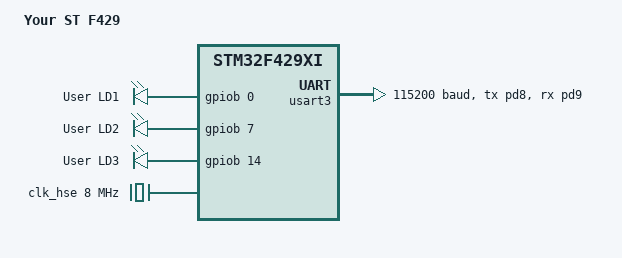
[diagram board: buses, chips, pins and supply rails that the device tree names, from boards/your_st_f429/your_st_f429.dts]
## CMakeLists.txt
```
cmake_minimum_required(VERSION 3.20.0)

#list(APPEND BOARD_ROOT ${CMAKE_CURRENT_SOURCE_DIR})
find_package(Zephyr REQUIRED)
project(my_zephyr_app)

target_sources(app PRIVATE
                    src/main.cpp
                    drivers/onboard_led/onboard_led_driver.c
                    drivers/onboard_led/onboard_led_shell.c)
```

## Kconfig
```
config APP_HEARTBEAT_PERIOD_MS
  int "Heartbeat Period in ms (100-2000)"
  default 500
  range 100 2000

menuconfig LED_SUBSYSTEM
  bool "LED Subsystem"
  default y

if LED_SUBSYSTEM

  choice
    prompt "LED blink sleep time"
    default LED_BLINK_SLEEP_1000MS

    config LED_BLINK_SLEEP_250MS
      bool "0.25s (lowest)"

    config LED_BLINK_SLEEP_500MS
      bool "0.5s (low)"

    config LED_BLINK_SLEEP_1000MS
      bool "1s (medium)"

    config LED_BLINK_SLEEP_2000MS
      bool "2s (high)"

  endchoice

  config BLINK_SLEEP_TIME_MS
    int
    default 250 if LED_BLINK_SLEEP_250MS
    default 500 if LED_BLINK_SLEEP_500MS
    default 1000 if LED_BLINK_SLEEP_1000MS
    default 2000 if LED_BLINK_SLEEP_2000MS
    default 0

  menuconfig ADVANCED_LED_SETTINGS
    bool "Advanced LED settings"
    default n

  if ADVANCED_LED_SETTINGS

    config LED_BRIGHTNESS
      int "LED brightness (0-100)"
      default 100
      range 0 100

    config LED_FADE_DURATION
      int "LED fade duration (ms)"
      default 500
      range 0 5000

    menu "Expert settings"
      visible if ADVANCED_LED_SETTINGS

      config LED_DEBUG_ENABLE
        bool "Enable LED debugging"

      config LED_CUSTOM_BLINK_PATTERN
        bool "Custom blink pattern"

    endmenu

    endif # ADVANCED_LED_SETTINGS

endif # LED_SUBSYSTEM

source "Kconfig.zephyr"
rsource "drivers/onboard_led/Kconfig"
```

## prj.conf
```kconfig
CONFIG_GPIO=y
CONFIG_LOG=y
CONFIG_SHELL=y
CONFIG_SHELL_BACKEND_SERIAL=y
```

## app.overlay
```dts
/ {
    aliases {
        
        app-led = &green_led_1;
        sensor-led = &blue_led_1;
    };

    onboard_led0: onboard_led_blue {
        compatible = "onboard_led,driver";
        status = "okay";
    };

    onboard_led1: onboard_led_red {
        compatible = "onboard_led,driver";
        status = "okay";
    };
};
```

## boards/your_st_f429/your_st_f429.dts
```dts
/dts-v1/;
#include <st/f4/stm32f429Xi.dtsi>
#include <st/f4/stm32f429zitx-pinctrl.dtsi>

/ {
    model = "Your ST F429";
	compatible = "iomico,your_st_f429";

    chosen {
		zephyr,console = &usart3;
        zephyr,sram = &sram0;
        zephyr,flash = &flash0;
        zephyr,code-partition = &slot0_partition;
    };

    leds {
		compatible = "gpio-leds";

		green_led_1: led_1 {
			gpios = <&gpiob 0 GPIO_ACTIVE_HIGH>;
			label = "User LD1";
		};

		blue_led_1: led_2 {
			gpios = <&gpiob 7 GPIO_ACTIVE_HIGH>;
			label = "User LD2";
		};

		red_led_1: led_3 {
			gpios = <&gpiob 14 GPIO_ACTIVE_HIGH>;
			label = "User LD3";
		};
    };

    aliases {
		led0 = &green_led_1;
		led1 = &blue_led_1;
		led2 = &red_led_1;
    };
};

&clk_lsi {
	status = "okay";
};

&clk_hse {
	hse-bypass;
	clock-frequency = <DT_FREQ_M(8)>; /* STLink 8MHz clock */
	status = "okay";
};

&pll {
	div-m = <8>;
	mul-n = <336>;
	div-p = <2>;
	div-q = <7>;
	clocks = <&clk_hse>;
	status = "okay";
};

&rcc {
	clocks = <&pll>;
	clock-frequency = <DT_FREQ_M(168)>; /* highest value to get a precise USB clock */
	ahb-prescaler = <1>;
	apb1-prescaler = <4>;
	apb2-prescaler = <2>;
};

&usart3 {
	pinctrl-0 = <&usart3_tx_pd8 &usart3_rx_pd9>;
	pinctrl-names = "default";
	current-speed = <115200>;
	status = "okay";
};

&flash0 {
	partitions {
		compatible = "fixed-partitions";
		#address-cells = <1>;
		#size-cells = <1>;

		/* 32KB for bootloader */
		boot_partition: partition@0 {
			label = "mcuboot";
			reg = <0x00000000 DT_SIZE_K(32)>;
			read-only;
		};

		/*
		 * nvs subsystem requires 2 sectors with a max total of 32K
		 * On F4 series, the only option is to use the following
		 * partition, which is compatible with mcuboot usage.
		 * Keep it commented in order it is not used by CI.
		 *
		 * storage_partition: partition@8000 {
		 *	label = "storage";
		 *	reg = <0x0008000 DT_SIZE_K(32)>;
		 * };
		 */

		/* application image slot: 256KB */
		slot0_partition: partition@20000 {
			label = "image-0";
			reg = <0x00020000 DT_SIZE_K(256)>;
		};

		/* backup slot: 256KB */
		slot1_partition: partition@60000 {
			label = "image-1";
			reg = <0x00060000 DT_SIZE_K(256)>;
		};

		/* swap slot: 128KB */
		scratch_partition: partition@a0000 {
			label = "image-scratch";
			reg = <0x000a0000 DT_SIZE_K(128)>;
		};
	};
};
```

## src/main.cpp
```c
// Zephyr Includes
#include <zephyr/drivers/gpio.h>
#include <zephyr/drivers/sensor.h>
#include <zephyr/kernel.h>
#include <zephyr/logging/log.h>

// Sensor Include
#include "../drivers/onboard_led/onboard_led_driver.h"

/**
 * @brief App Led
 */
static const struct gpio_dt_spec app_led = GPIO_DT_SPEC_GET(DT_ALIAS(app_led), gpios);

/**
 * @brief Sensor Led through Sensor API
 */
static const struct device *onboard_led_dev = DEVICE_DT_GET(DT_NODELABEL(onboard_led0));

/**
 * @brief Log Register
 */
LOG_MODULE_REGISTER(main, LOG_LEVEL_INF);

/**
 * Onboard Led Sample Fetch
 */
int onboard_led_sample_fetch() {

    int error_code = sensor_sample_fetch(onboard_led_dev);
    LOG_INF("Sample Fetch. Error Code: %d", error_code);
    return 0;
}

/**
 * Onboard Led Channel Get
 */
int onboard_led_channel_get() {

    struct sensor_value val;
    int error_code = sensor_channel_get(onboard_led_dev, SENSOR_CHAN_AMBIENT_TEMP, &val);
    LOG_INF("Get Channel. Error Code: %d", error_code);
    return 0;
}

int main(void)
{
    bool led_state = true;

    if (!gpio_is_ready_dt(&app_led)) return -ENODEV;

    if (!device_is_ready(onboard_led_dev)) return -ENODEV;

    // Set Blink Counter Value
    onboard_led_set_blink_counter(onboard_led_dev, 100);

    if (gpio_pin_configure_dt(&app_led, GPIO_OUTPUT_INACTIVE) < 0) return 0;

    LOG_INF("Starting...");

    while (1) {

        // Toggle Leds
        if (led_state) {

            //onboard_led_sample_fetch();
            gpio_pin_set_dt(&app_led, 1);
        
        } else {

            //onboard_led_channel_get();
            gpio_pin_set_dt(&app_led, 0);
        }

        // Show current state
        LOG_INF("LEDs state: %s", led_state ? "ON" : "OFF");

        // Change State next cycle
        led_state = !led_state;

        // Sleep for some miliseconds
        k_msleep(CONFIG_APP_HEARTBEAT_PERIOD_MS);
    }
    return 0;
}
```
